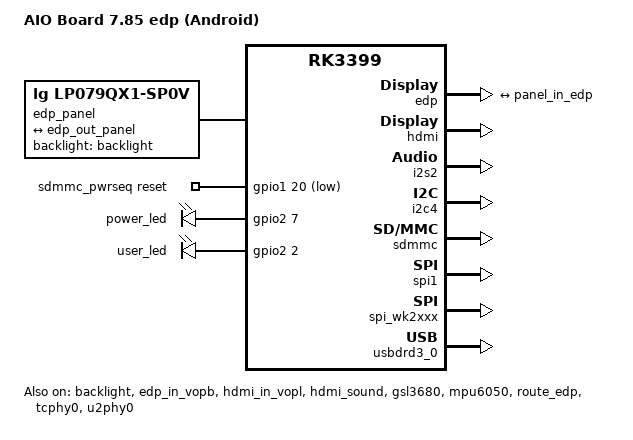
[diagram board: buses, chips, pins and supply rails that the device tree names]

/*
 * Copyright (c) 2016 Fuzhou Rockchip Electronics Co., Ltd
 *
 * This file is dual-licensed: you can use it either under the terms
 * of the GPL or the X11 license, at your option. Note that this dual
 * licensing only applies to this file, and not this project as a
 * whole.
 *
 *  a) This file is free software; you can redistribute it and/or
 *     modify it under the terms of the GNU General Public License as
 *     published by the Free Software Foundation; either version 2 of the
 *     License, or (at your option) any later version.
 *
 *     This file is distributed in the hope that it will be useful,
 *     but WITHOUT ANY WARRANTY; without even the implied warranty of
 *     MERCHANTABILITY or FITNESS FOR A PARTICULAR PURPOSE.  See the
 *     GNU General Public License for more details.
 *
 * Or, alternatively,
 *
 *  b) Permission is hereby granted, free of charge, to any person
 *     obtaining a copy of this software and associated documentation
 *     files (the "Software"), to deal in the Software without
 *     restriction, including without limitation the rights to use,
 *     copy, modify, merge, publish, distribute, sublicense, and/or
 *     sell copies of the Software, and to permit persons to whom the
 *     Software is furnished to do so, subject to the following
 *     conditions:
 *
 *     The above copyright notice and this permission notice shall be
 *     included in all copies or substantial portions of the Software.
 *
 *     THE SOFTWARE IS PROVIDED "AS IS", WITHOUT WARRANTY OF ANY KIND,
 *     EXPRESS OR IMPLIED, INCLUDING BUT NOT LIMITED TO THE WARRANTIES
 *     OF MERCHANTABILITY, FITNESS FOR A PARTICULAR PURPOSE AND
 *     NONINFRINGEMENT. IN NO EVENT SHALL THE AUTHORS OR COPYRIGHT
 *     HOLDERS BE LIABLE FOR ANY CLAIM, DAMAGES OR OTHER LIABILITY,
 *     WHETHER IN AN ACTION OF CONTRACT, TORT OR OTHERWISE, ARISING
 *     FROM, OUT OF OR IN CONNECTION WITH THE SOFTWARE OR THE USE OR
 *     OTHER DEALINGS IN THE SOFTWARE.
 */

/dts-v1/;

#include "rk3399-firefly-port.dtsi" 	

/ {
	model = "AIO Board 7.85 edp (Android)";
	compatible = "rockchip,android", "rockchip,rk3399-firefly-edp", "rockchip,rk3399";

	edp_panel: edp-panel {
		/* config 2 */
		compatible = "lg,lp079qx1-sp0v";
		/* config 3 */
		//compatible = "simple-panel";
		bus-format = <MEDIA_BUS_FMT_RGB666_1X18>;

		backlight = <&backlight>;

		ports {
			panel_in_edp: endpoint {
				remote-endpoint = <&edp_out_panel>;
			};
		};

		power_ctr: power_ctr {
               rockchip,debug = <0>;
               lcd_en: lcd-en {
                       gpios = <&gpio1 1 GPIO_ACTIVE_HIGH>;
					   pinctrl-names = "default";
					   pinctrl-0 = <&lcd_panel_enable>;
                       rockchip,delay = <20>;
               };
               lcd_rst: lcd-rst {
                       gpios = <&gpio4 29 GPIO_ACTIVE_HIGH>;
					   pinctrl-names = "default";
					   pinctrl-0 = <&lcd_panel_reset>;
                       rockchip,delay = <20>;
               };
       };
	};

	test-power {
		status = "okay";
	};

	sdmmc_pwrseq: sdmmc-pwrseq {
           compatible = "mmc-pwrseq-simple";
           clocks = <&rk808 1>;
           clock-names = "ext_clock";
           pinctrl-names = "default";
           pinctrl-0 = <&sdcard_enable_h>;
           /*
            * On the module itself this is one of these (depending
            * on the actual card populated):
            * - SDIO_RESET_L_WL_REG_ON
            * - PDN (power down when low)
            */
           reset-gpios = <&gpio1 20 GPIO_ACTIVE_LOW>; // change with tp int pin
	};
};

&backlight {
	status = "okay";
};

&edp {
	status = "okay";

	ports {
		edp_out: port@1 {
			reg = <1>;
			#address-cells = <1>;
			#size-cells = <0>;

			edp_out_panel: endpoint@0 {
				reg = <0>;
				remote-endpoint = <&panel_in_edp>;
			};
		};
	};
};

&edp_in_vopb {
	status = "okay";
};
&edp_in_vopl {
	status = "disabled";
};

&hdmi {
	status = "okay";
};

&hdmi_in_vopb {
	status = "disabled";
};
&hdmi_in_vopl {
	status = "okay";
};

&cdn_dp {
    status = "disabled";
    extcon = <&fusb0>;
    phys = <&tcphy0_dp>;
};

&dp_in_vopb {
    status = "disabled";
};

&hdmi_sound {
	status = "okay";
};

&i2s2 {
	status = "okay";
};

&i2c4 {
	status = "okay";
};

&gsl3680 {
	status = "okay";
	touch-gpio = <&gpio4 27 IRQ_TYPE_LEVEL_LOW>;
};

&mpu6050 {
    status = "okay";
};

&vopb {
	assigned-clocks = <&cru DCLK_VOP0_DIV>;
	assigned-clock-parents = <&cru PLL_CPLL>;
};

&vopl {
	assigned-clocks = <&cru DCLK_VOP1_DIV>;
	assigned-clock-parents = <&cru PLL_VPLL>;
};

&route_edp {
	status = "okay";
	logo,mode = "center";
};

&sdmmc {
    status = "okay";
	sd-uhs-sdr104;
	mmc-pwrseq = <&sdmmc_pwrseq>;
};

&rt5640 {
    aux-det-adc-value = <1000>;
    io-channels = <&saradc 4>,<&saradc 2>;
    io-channel-names = "hp-det","aux-det";
};

&power_led {
    gpios = <&gpio2 7 GPIO_ACTIVE_HIGH>;
};

&user_led {
    gpios = <&gpio2 2 GPIO_ACTIVE_HIGH>;
};

/* spi to uart */
&uart4 {
    status = "disabled";
};

&vdd_cpu_b {
    /delete-property/ vsel-gpios;  //wk2xxx reset pin
};

&spi1 {
    status = "okay";
};

&spi_wk2xxx {
    status = "okay";
};

&vcc3v3_pcie {
    gpio = <&gpio0 13 GPIO_ACTIVE_HIGH>;  // change with user led
};

&vcc3v3_3g {
    gpio = <&gpio2 6 GPIO_ACTIVE_HIGH>;
};

/* Otg */
&fusb0 {
    status = "disabled";
};

&tcphy0 {
    /delete-property/ extcon;
    status = "okay";
};
 
&u2phy0 {
    status = "okay";
    /delete-property/ extcon;   
                
    u2phy0_otg: otg-port {
        rockchip,vbus-always-on;
        vbus-5v-gpios = <&gpio1 3 GPIO_ACTIVE_HIGH>;
        status = "okay";
    };
};

&usbdrd3_0 {
    status = "okay";
    /delete-property/ extcon;
};

&pinctrl {
	lcd-panel {
		lcd_panel_reset: lcd-panel-reset {
			rockchip,pins = <4 29 RK_FUNC_GPIO &pcfg_pull_up>;
		};
		lcd_panel_enable: lcd-panel-enable {
			rockchip,pins = <1 1 RK_FUNC_GPIO &pcfg_pull_up>;
		};
	};
	sdmmc-pwrseq {
		sdcard_enable_h: sdcard-enable-h {
			rockchip,pins =
			<1 20 RK_FUNC_GPIO &pcfg_pull_none>;
		};
	};

    pcie {
        pcie_drv: pcie-drv {
            rockchip,pins =
            <0 13 RK_FUNC_GPIO &pcfg_pull_none>;
        };
        
        pcie_3g_drv: pcie-3g-drv {
            rockchip,pins = 
            <2 6 RK_FUNC_GPIO &pcfg_pull_up>;
        };
    };

	leds {
        led_power: led-power {
            rockchip,pins = <2 7 RK_FUNC_GPIO &pcfg_pull_none>;
        };

        led_user: led-user {
            rockchip,pins = <2 2 RK_FUNC_GPIO &pcfg_pull_none>;
        };
    };
};
